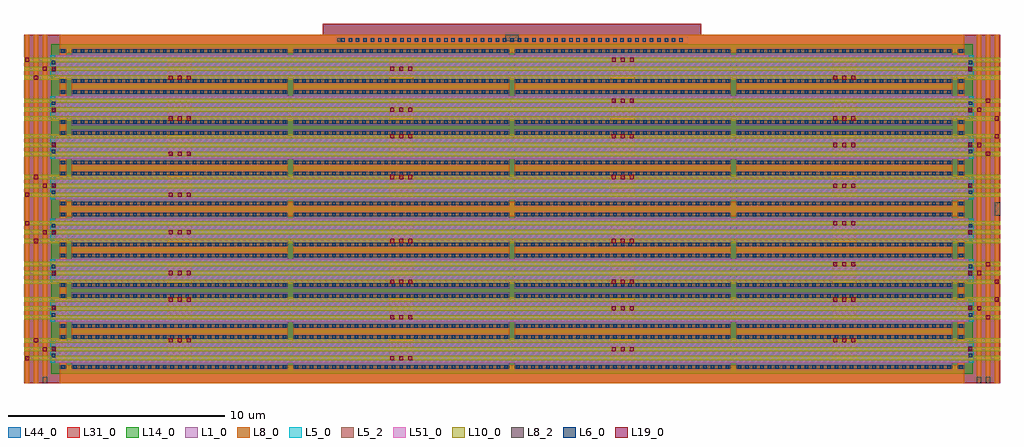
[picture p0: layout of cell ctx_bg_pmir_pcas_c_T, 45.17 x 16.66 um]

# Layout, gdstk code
from math import pi, radians
import gdstk
lib = gdstk.Library(unit=1e-6, precision=1e-09)
def R(c, l, rs):  # rectangles x0, y0, x1, y1
    for r in rs: c.add(gdstk.rectangle(r[:2], r[2:], *l))
def A(c, l, x, y, w, h, nx, ny, dx, dy):  # array of equal rectangles
    R(c, l, [(x+i*dx, y+j*dy, x+i*dx+w, y+j*dy+h) for i in range(nx) for j in range(ny)])
L1_0 = (1, 0)
L5_0 = (5, 0)
L5_2 = (5, 2)
L6_0 = (6, 0)
L8_0 = (8, 0)
L8_2 = (8, 2)
L10_0 = (10, 0)
L14_0 = (14, 0)
L19_0 = (19, 0)
L31_0 = (31, 0)
L44_0 = (44, 0)
L51_0 = (51, 0)

pmoshv_w0p3_l1 = lib.new_cell('pmosHV_w0p3_l1')
R(pmoshv_w0p3_l1, L1_0, [(0,0,0.3,0.3), (0,0,1.68,0.3), (1.38,0,1.68,0.3)])
R(pmoshv_w0p3_l1, L5_0, [(0.34,-0.18,1.34,0.48)])
R(pmoshv_w0p3_l1, L5_2, [(0.34,-0.18,1.34,0.48)])
R(pmoshv_w0p3_l1, L6_0, [(0.07,0.07,0.23,0.23), (1.45,0.07,1.61,0.23)])
R(pmoshv_w0p3_l1, L8_0, [(0.07,0,0.23,0.3), (1.45,0,1.61,0.3)])
R(pmoshv_w0p3_l1, L8_2, [(0.07,0,0.23,0.3), (1.45,0,1.61,0.3)])
R(pmoshv_w0p3_l1, L14_0, [(-0.18,-0.4,1.86,0.7)])
R(pmoshv_w0p3_l1, L31_0, [(-0.62,-0.62,2.3,0.92)])
R(pmoshv_w0p3_l1, L44_0, [(-0.62,-0.62,2.3,0.92)])
R(pmoshv_w0p3_l1, L51_0, [(0.34,-0.18,1.34,0.48)])
pmoshv_w0p3_l1.add(gdstk.Label('pmosHV', (0.84,0.15), layer=63, texttype=0))
pmoshv_w0p3_l1.add(gdstk.Label('pmos', (0.84,0.15), layer=51, texttype=0))

pmoshv_14 = lib.new_cell('pmosHV$14')
R(pmoshv_14, L1_0, [(0,0,0.3,0.3), (0,0,1.68,10), (1.38,0,1.68,0.3)])
R(pmoshv_14, L5_0, [(0.34,-0.18,1.34,10.18)])
R(pmoshv_14, L5_2, [(0.34,-0.18,1.34,10.18)])
A(pmoshv_14, L6_0, 0.07, 0.07, 0.16, 0.16, 1, 4, 0, 0.345)
A(pmoshv_14, L6_0, 1.45, 0.07, 0.16, 0.16, 1, 4, 0, 0.345)
A(pmoshv_14, L6_0, 0.07, 1.455, 0.16, 0.16, 1, 3, 0, 0.345)
A(pmoshv_14, L6_0, 1.45, 1.455, 0.16, 0.16, 1, 3, 0, 0.345)
A(pmoshv_14, L6_0, 0.07, 2.495, 0.16, 0.16, 1, 4, 0, 0.345)
A(pmoshv_14, L6_0, 1.45, 2.495, 0.16, 0.16, 1, 4, 0, 0.345)
A(pmoshv_14, L6_0, 0.07, 3.88, 0.16, 0.16, 1, 3, 0, 0.345)
A(pmoshv_14, L6_0, 1.45, 3.88, 0.16, 0.16, 1, 3, 0, 0.345)
A(pmoshv_14, L6_0, 0.07, 4.92, 0.16, 0.16, 1, 4, 0, 0.345)
A(pmoshv_14, L6_0, 1.45, 4.92, 0.16, 0.16, 1, 4, 0, 0.345)
A(pmoshv_14, L6_0, 0.07, 6.305, 0.16, 0.16, 1, 3, 0, 0.345)
A(pmoshv_14, L6_0, 1.45, 6.305, 0.16, 0.16, 1, 3, 0, 0.345)
A(pmoshv_14, L6_0, 0.07, 7.345, 0.16, 0.16, 1, 4, 0, 0.345)
A(pmoshv_14, L6_0, 1.45, 7.345, 0.16, 0.16, 1, 4, 0, 0.345)
A(pmoshv_14, L6_0, 0.07, 8.73, 0.16, 0.16, 1, 3, 0, 0.345)
A(pmoshv_14, L6_0, 1.45, 8.73, 0.16, 0.16, 1, 3, 0, 0.345)
R(pmoshv_14, L6_0, [(0.07,9.77,0.23,9.93), (1.45,9.77,1.61,9.93)])
R(pmoshv_14, L8_0, [(0.07,0,0.23,10), (1.45,0,1.61,10)])
R(pmoshv_14, L8_2, [(0.07,0,0.23,10), (1.45,0,1.61,10)])
R(pmoshv_14, L14_0, [(-0.18,-0.4,1.86,10.4)])
R(pmoshv_14, L31_0, [(-0.62,-0.62,2.3,10.62)])
R(pmoshv_14, L44_0, [(-0.62,-0.62,2.3,10.62)])
R(pmoshv_14, L51_0, [(0.34,-0.18,1.34,10.18)])
pmoshv_14.add(gdstk.Label('pmosHV', (0.84,5), layer=63, texttype=0))
pmoshv_14.add(gdstk.Label('pmos', (0.84,5), layer=51, texttype=0))

bg_pmir_pcas_c = lib.new_cell('bg_pmir_pcas_c')
A(bg_pmir_pcas_c, L5_0, -0.435, 0.34, 0.435, 1, 1, 8, 0, 1.89)
A(bg_pmir_pcas_c, L5_0, 41.85, 0.34, 0.435, 1, 1, 8, 0, 1.89)
R(bg_pmir_pcas_c, L6_0, [(-0.365,0.59,-0.205,0.75), (42.055,0.59,42.215,0.75), (-0.365,0.93,-0.205,1.09), (42.055,0.93,42.215,1.09), (-0.365,2.48,-0.205,2.64), (42.055,2.48,42.215,2.64), (-0.365,2.82,-0.205,2.98), (42.055,2.82,42.215,2.98), (-0.365,4.37,-0.205,4.53), (42.055,4.37,42.215,4.53), (-0.365,4.71,-0.205,4.87), (42.055,4.71,42.215,4.87), (-0.365,6.26,-0.205,6.42), (42.055,6.26,42.215,6.42), (-0.365,6.6,-0.205,6.76), (42.055,6.6,42.215,6.76), (-0.365,8.15,-0.205,8.31), (42.055,8.15,42.215,8.31), (-0.365,8.49,-0.205,8.65), (42.055,8.49,42.215,8.65), (-0.365,10.04,-0.205,10.2), (42.055,10.04,42.215,10.2), (-0.365,10.38,-0.205,10.54), (42.055,10.38,42.215,10.54), (-0.365,11.93,-0.205,12.09), (42.055,11.93,42.215,12.09), (-0.365,12.27,-0.205,12.43), (42.055,12.27,42.215,12.43), (-0.365,13.82,-0.205,13.98), (42.055,13.82,42.215,13.98), (-0.365,14.16,-0.205,14.32), (42.055,14.16,42.215,14.32)])
A(bg_pmir_pcas_c, L8_0, -1.62, -0.62, 0.21, 16.15, 3, 1, 0.41, 0)
A(bg_pmir_pcas_c, L8_0, 42.44, -0.62, 0.21, 16.15, 3, 1, 0.41, 0)
A(bg_pmir_pcas_c, L8_0, 0, 0.07, 0.3, 1.54, 1, 8, 0, 1.89)
A(bg_pmir_pcas_c, L8_0, 41.55, 0.07, 0.3, 1.54, 1, 8, 0, 1.89)
A(bg_pmir_pcas_c, L8_0, -0.39, 0.41, 0.21, 0.86, 1, 8, 0, 1.89)
A(bg_pmir_pcas_c, L8_0, 42.03, 0.41, 0.21, 0.86, 1, 8, 0, 1.89)
A(bg_pmir_pcas_c, L8_0, 4.995, 0.45, 1.11, 1.16, 4, 2, 10.25, 1.89)
A(bg_pmir_pcas_c, L8_0, 0, 1.45, 0.3, 0.67, 1, 4, 0, 3.78)
A(bg_pmir_pcas_c, L8_0, 0.55, 1.45, 10, 0.67, 4, 4, 10.25, 3.78)
A(bg_pmir_pcas_c, L8_0, 41.55, 1.45, 0.3, 0.67, 1, 4, 0, 3.78)
A(bg_pmir_pcas_c, L8_0, 0, 3.5, 0.3, 0.35, 1, 3, 0, 3.78)
A(bg_pmir_pcas_c, L8_0, 41.55, 3.5, 0.3, 0.35, 1, 3, 0, 3.78)
A(bg_pmir_pcas_c, L8_0, 4.995, 3.85, 1.11, 1.16, 4, 2, 10.25, 1.89)
A(bg_pmir_pcas_c, L8_0, 4.995, 8.01, 1.11, 1.16, 4, 2, 10.25, 1.89)
A(bg_pmir_pcas_c, L8_0, 4.995, 11.41, 1.11, 1.16, 4, 2, 10.25, 1.89)
R(bg_pmir_pcas_c, L8_0, [(0,-0.62,41.85,0.23), (0,7.12,41.85,7.79), (43.26,7.135,43.51,7.775), (0,14.68,41.85,15.53)])
R(bg_pmir_pcas_c, L8_2, [(-0.8,-0.62,-0.59,-0.3), (42.44,-0.62,42.65,-0.3), (42.85,-0.62,43.06,-0.3), (43.26,7.135,43.51,7.775), (20.605,15.21,21.245,15.53)])
A(bg_pmir_pcas_c, L10_0, -1.66, 0.455, 45.17, 0.2, 1, 3, 0, 0.41)
A(bg_pmir_pcas_c, L10_0, -1.66, 2.345, 45.17, 0.2, 1, 3, 0, 0.41)
A(bg_pmir_pcas_c, L10_0, -1.66, 3.985, 45.17, 0.2, 1, 3, 0, 0.41)
A(bg_pmir_pcas_c, L10_0, -1.66, 5.875, 45.17, 0.2, 1, 3, 0, 0.41)
A(bg_pmir_pcas_c, L10_0, -1.66, 8.015, 45.17, 0.2, 1, 3, 0, 0.41)
A(bg_pmir_pcas_c, L10_0, -1.66, 9.905, 45.17, 0.2, 1, 3, 0, 0.41)
A(bg_pmir_pcas_c, L10_0, -1.66, 11.545, 45.17, 0.2, 1, 3, 0, 0.41)
A(bg_pmir_pcas_c, L10_0, -1.66, 13.435, 45.17, 0.2, 1, 3, 0, 0.41)
A(bg_pmir_pcas_c, L19_0, 15.295, 0.46, 0.19, 0.19, 3, 2, 0.41, 1.89)
A(bg_pmir_pcas_c, L19_0, 25.545, 0.87, 0.19, 0.19, 3, 2, 0.41, 1.89)
A(bg_pmir_pcas_c, L19_0, 5.045, 1.28, 0.19, 0.19, 3, 2, 0.41, 1.89)
A(bg_pmir_pcas_c, L19_0, 35.795, 1.28, 0.19, 0.19, 3, 2, 0.41, 1.89)
A(bg_pmir_pcas_c, L19_0, 15.295, 3.99, 0.19, 0.19, 3, 2, 0.41, 1.89)
A(bg_pmir_pcas_c, L19_0, 25.545, 3.99, 0.19, 0.19, 3, 2, 0.41, 1.89)
A(bg_pmir_pcas_c, L19_0, 5.045, 4.4, 0.19, 0.19, 3, 2, 0.41, 1.89)
A(bg_pmir_pcas_c, L19_0, 35.795, 4.81, 0.19, 0.19, 3, 2, 0.41, 1.89)
A(bg_pmir_pcas_c, L19_0, 5.045, 8.02, 0.19, 0.19, 3, 2, 0.41, 1.89)
A(bg_pmir_pcas_c, L19_0, 35.795, 8.43, 0.19, 0.19, 3, 2, 0.41, 1.89)
A(bg_pmir_pcas_c, L19_0, 15.295, 8.84, 0.19, 0.19, 3, 2, 0.41, 1.89)
A(bg_pmir_pcas_c, L19_0, 25.545, 8.84, 0.19, 0.19, 3, 2, 0.41, 1.89)
A(bg_pmir_pcas_c, L19_0, 5.045, 11.55, 0.19, 0.19, 3, 2, 0.41, 1.89)
A(bg_pmir_pcas_c, L19_0, 35.795, 11.55, 0.19, 0.19, 3, 2, 0.41, 1.89)
A(bg_pmir_pcas_c, L19_0, 15.295, 11.96, 0.19, 0.19, 3, 2, 0.41, 1.89)
A(bg_pmir_pcas_c, L19_0, 25.545, 12.37, 0.19, 0.19, 3, 2, 0.41, 1.89)
R(bg_pmir_pcas_c, L19_0, [(-1.61,0.46,-1.42,0.65), (-0.79,0.87,-0.6,1.06), (-0.38,0.87,-0.19,1.06), (42.04,0.87,42.23,1.06), (-1.2,1.28,-1.01,1.47), (42.86,2.35,43.05,2.54), (-0.38,2.76,-0.19,2.95), (42.04,2.76,42.23,2.95), (42.45,2.76,42.64,2.95), (43.27,3.17,43.46,3.36), (43.27,3.99,43.46,4.18), (-0.38,4.4,-0.19,4.59), (42.04,4.4,42.23,4.59), (42.45,4.4,42.64,4.59), (42.86,4.81,43.05,5), (-1.2,5.88,-1.01,6.07), (-0.79,6.29,-0.6,6.48), (-0.38,6.29,-0.19,6.48), (42.04,6.29,42.23,6.48), (-1.61,6.7,-1.42,6.89), (-1.61,8.02,-1.42,8.21), (-0.79,8.43,-0.6,8.62), (-0.38,8.43,-0.19,8.62), (42.04,8.43,42.23,8.62), (-1.2,8.84,-1.01,9.03), (42.86,9.91,43.05,10.1), (-0.38,10.32,-0.19,10.51), (42.04,10.32,42.23,10.51), (42.45,10.32,42.64,10.51), (43.27,10.73,43.46,10.92), (43.27,11.55,43.46,11.74), (-0.38,11.96,-0.19,12.15), (42.04,11.96,42.23,12.15), (42.45,11.96,42.64,12.15), (42.86,12.37,43.05,12.56), (-1.2,13.44,-1.01,13.63), (-0.79,13.85,-0.6,14.04), (-0.38,13.85,-0.19,14.04), (42.04,13.85,42.23,14.04), (-1.61,14.26,-1.42,14.45)])
R(bg_pmir_pcas_c, L31_0, [(-1.66,-0.62,43.51,15.53)])
R(bg_pmir_pcas_c, L44_0, [(-1.66,-0.62,43.51,15.53)])
bg_pmir_pcas_c.add(gdstk.Reference(pmoshv_w0p3_l1, (0,14.91), rotation=3*pi/2))
r = gdstk.Reference(pmoshv_14, (0.55,14.91), rotation=3*pi/2); r.repetition = gdstk.Repetition(1, 4, v1=(0,0), v2=(10.25,0)); bg_pmir_pcas_c.add(r)
bg_pmir_pcas_c.add(gdstk.Reference(pmoshv_w0p3_l1, (41.55,14.91), rotation=3*pi/2))
bg_pmir_pcas_c.add(gdstk.Reference(pmoshv_w0p3_l1, (0,13.02), rotation=3*pi/2))
r = gdstk.Reference(pmoshv_14, (0.55,13.02), rotation=3*pi/2); r.repetition = gdstk.Repetition(1, 4, v1=(0,0), v2=(10.25,0)); bg_pmir_pcas_c.add(r)
bg_pmir_pcas_c.add(gdstk.Reference(pmoshv_w0p3_l1, (41.55,13.02), rotation=3*pi/2))
bg_pmir_pcas_c.add(gdstk.Reference(pmoshv_w0p3_l1, (0,11.13), rotation=3*pi/2))
r = gdstk.Reference(pmoshv_14, (0.55,11.13), rotation=3*pi/2); r.repetition = gdstk.Repetition(1, 4, v1=(0,0), v2=(10.25,0)); bg_pmir_pcas_c.add(r)
bg_pmir_pcas_c.add(gdstk.Reference(pmoshv_w0p3_l1, (41.55,11.13), rotation=3*pi/2))
bg_pmir_pcas_c.add(gdstk.Reference(pmoshv_w0p3_l1, (0,9.24), rotation=3*pi/2))
r = gdstk.Reference(pmoshv_14, (0.55,9.24), rotation=3*pi/2); r.repetition = gdstk.Repetition(1, 4, v1=(0,0), v2=(10.25,0)); bg_pmir_pcas_c.add(r)
bg_pmir_pcas_c.add(gdstk.Reference(pmoshv_w0p3_l1, (41.55,9.24), rotation=3*pi/2))
bg_pmir_pcas_c.add(gdstk.Reference(pmoshv_w0p3_l1, (0,7.35), rotation=3*pi/2))
r = gdstk.Reference(pmoshv_14, (0.55,7.35), rotation=3*pi/2); r.repetition = gdstk.Repetition(1, 4, v1=(0,0), v2=(10.25,0)); bg_pmir_pcas_c.add(r)
bg_pmir_pcas_c.add(gdstk.Reference(pmoshv_w0p3_l1, (41.55,7.35), rotation=3*pi/2))
bg_pmir_pcas_c.add(gdstk.Reference(pmoshv_w0p3_l1, (0,5.46), rotation=3*pi/2))
r = gdstk.Reference(pmoshv_14, (0.55,5.46), rotation=3*pi/2); r.repetition = gdstk.Repetition(1, 4, v1=(0,0), v2=(10.25,0)); bg_pmir_pcas_c.add(r)
bg_pmir_pcas_c.add(gdstk.Reference(pmoshv_w0p3_l1, (41.55,5.46), rotation=3*pi/2))
bg_pmir_pcas_c.add(gdstk.Reference(pmoshv_w0p3_l1, (0,3.57), rotation=3*pi/2))
r = gdstk.Reference(pmoshv_14, (0.55,3.57), rotation=3*pi/2); r.repetition = gdstk.Repetition(1, 4, v1=(0,0), v2=(10.25,0)); bg_pmir_pcas_c.add(r)
bg_pmir_pcas_c.add(gdstk.Reference(pmoshv_w0p3_l1, (41.55,3.57), rotation=3*pi/2))
bg_pmir_pcas_c.add(gdstk.Reference(pmoshv_w0p3_l1, (0,1.68), rotation=3*pi/2))
r = gdstk.Reference(pmoshv_14, (0.55,1.68), rotation=3*pi/2); r.repetition = gdstk.Repetition(1, 4, v1=(0,0), v2=(10.25,0)); bg_pmir_pcas_c.add(r)
bg_pmir_pcas_c.add(gdstk.Reference(pmoshv_w0p3_l1, (41.55,1.68), rotation=3*pi/2))
bg_pmir_pcas_c.add(gdstk.Label('dummyn', (0.15,14.07), layer=63, texttype=0))
bg_pmir_pcas_c.add(gdstk.Label('PO', (5.55,14.07), layer=63, texttype=0))
bg_pmir_pcas_c.add(gdstk.Label('PB', (15.8,14.07), layer=63, texttype=0))
bg_pmir_pcas_c.add(gdstk.Label('PA', (26.05,14.07), layer=63, texttype=0))
bg_pmir_pcas_c.add(gdstk.Label('PO', (36.3,14.07), layer=63, texttype=0))
bg_pmir_pcas_c.add(gdstk.Label('dummyn', (41.7,14.07), layer=63, texttype=0))
bg_pmir_pcas_c.add(gdstk.Label('dummyn', (0.15,12.18), layer=63, texttype=0))
bg_pmir_pcas_c.add(gdstk.Label('POC', (5.55,12.18), layer=63, texttype=0))
bg_pmir_pcas_c.add(gdstk.Label('PBC', (15.8,12.18), layer=63, texttype=0))
bg_pmir_pcas_c.add(gdstk.Label('PAC', (26.05,12.18), layer=63, texttype=0))
bg_pmir_pcas_c.add(gdstk.Label('POC', (36.3,12.18), layer=63, texttype=0))
bg_pmir_pcas_c.add(gdstk.Label('dummyn', (41.7,12.18), layer=63, texttype=0))
bg_pmir_pcas_c.add(gdstk.Label('dummyn', (0.15,10.29), layer=63, texttype=0))
bg_pmir_pcas_c.add(gdstk.Label('PAC', (5.55,10.29), layer=63, texttype=0))
bg_pmir_pcas_c.add(gdstk.Label('POC', (15.8,10.29), layer=63, texttype=0))
bg_pmir_pcas_c.add(gdstk.Label('POC', (26.05,10.29), layer=63, texttype=0))
bg_pmir_pcas_c.add(gdstk.Label('PBC', (36.3,10.29), layer=63, texttype=0))
bg_pmir_pcas_c.add(gdstk.Label('dummyn', (41.7,10.29), layer=63, texttype=0))
bg_pmir_pcas_c.add(gdstk.Label('dummyn', (0.15,8.4), layer=63, texttype=0))
bg_pmir_pcas_c.add(gdstk.Label('PA', (5.55,8.4), layer=63, texttype=0))
bg_pmir_pcas_c.add(gdstk.Label('PO', (15.8,8.4), layer=63, texttype=0))
bg_pmir_pcas_c.add(gdstk.Label('PO', (26.05,8.4), layer=63, texttype=0))
bg_pmir_pcas_c.add(gdstk.Label('PB', (36.3,8.4), layer=63, texttype=0))
bg_pmir_pcas_c.add(gdstk.Label('dummyn', (41.7,8.4), layer=63, texttype=0))
bg_pmir_pcas_c.add(gdstk.Label('dummyn', (0.15,6.51), layer=63, texttype=0))
bg_pmir_pcas_c.add(gdstk.Label('PB', (5.55,6.51), layer=63, texttype=0))
bg_pmir_pcas_c.add(gdstk.Label('PO', (15.8,6.51), layer=63, texttype=0))
bg_pmir_pcas_c.add(gdstk.Label('PO', (26.05,6.51), layer=63, texttype=0))
bg_pmir_pcas_c.add(gdstk.Label('PA', (36.3,6.51), layer=63, texttype=0))
bg_pmir_pcas_c.add(gdstk.Label('dummyn', (41.7,6.51), layer=63, texttype=0))
bg_pmir_pcas_c.add(gdstk.Label('dummyn', (0.15,4.62), layer=63, texttype=0))
bg_pmir_pcas_c.add(gdstk.Label('PBC', (5.55,4.62), layer=63, texttype=0))
bg_pmir_pcas_c.add(gdstk.Label('POC', (15.8,4.62), layer=63, texttype=0))
bg_pmir_pcas_c.add(gdstk.Label('POC', (26.05,4.62), layer=63, texttype=0))
bg_pmir_pcas_c.add(gdstk.Label('PAC', (36.3,4.62), layer=63, texttype=0))
bg_pmir_pcas_c.add(gdstk.Label('dummyn', (41.7,4.62), layer=63, texttype=0))
bg_pmir_pcas_c.add(gdstk.Label('dummyn', (0.15,2.73), layer=63, texttype=0))
bg_pmir_pcas_c.add(gdstk.Label('POC', (5.55,2.73), layer=63, texttype=0))
bg_pmir_pcas_c.add(gdstk.Label('PAC', (15.8,2.73), layer=63, texttype=0))
bg_pmir_pcas_c.add(gdstk.Label('PBC', (26.05,2.73), layer=63, texttype=0))
bg_pmir_pcas_c.add(gdstk.Label('POC', (36.3,2.73), layer=63, texttype=0))
bg_pmir_pcas_c.add(gdstk.Label('dummyn', (41.7,2.73), layer=63, texttype=0))
bg_pmir_pcas_c.add(gdstk.Label('dummyn', (0.15,0.84), layer=63, texttype=0))
bg_pmir_pcas_c.add(gdstk.Label('PO', (5.55,0.84), layer=63, texttype=0))
bg_pmir_pcas_c.add(gdstk.Label('PA', (15.8,0.84), layer=63, texttype=0))
bg_pmir_pcas_c.add(gdstk.Label('PB', (26.05,0.84), layer=63, texttype=0))
bg_pmir_pcas_c.add(gdstk.Label('PO', (36.3,0.84), layer=63, texttype=0))
bg_pmir_pcas_c.add(gdstk.Label('dummyn', (41.7,0.84), layer=63, texttype=0))
bg_pmir_pcas_c.add(gdstk.Label('vpg', (-0.695,-0.46), layer=8, texttype=25))
bg_pmir_pcas_c.add(gdstk.Label('vpc', (42.545,-0.46), layer=8, texttype=25))
bg_pmir_pcas_c.add(gdstk.Label('g', (42.955,-0.46), layer=8, texttype=25))
bg_pmir_pcas_c.add(gdstk.Label('iout', (43.385,7.455), layer=8, texttype=25))
bg_pmir_pcas_c.add(gdstk.Label('vdd', (20.925,15.37), layer=8, texttype=25))

ctx_bg_pmir_pcas_c_t_tap = lib.new_cell('ctx_bg_pmir_pcas_c_T_tap0')
R(ctx_bg_pmir_pcas_c_t_tap, L1_0, [(12.775,15.12,29.075,15.42)])
A(ctx_bg_pmir_pcas_c_t_tap, L6_0, 13.025, 15.19, 0.16, 0.16, 47, 1, 0.34, 0)
R(ctx_bg_pmir_pcas_c_t_tap, L8_0, [(12.845,15.19,29.005,15.35)])
R(ctx_bg_pmir_pcas_c_t_tap, L8_2, [(12.845,15.19,13.005,15.35)])
R(ctx_bg_pmir_pcas_c_t_tap, L31_0, [(12.155,14.5,29.695,16.04)])
R(ctx_bg_pmir_pcas_c_t_tap, L44_0, [(12.155,14.5,29.695,16.04)])
ctx_bg_pmir_pcas_c_t_tap.add(gdstk.Label('vdd', (12.925,15.27), layer=8, texttype=25))

ctx_bg_pmir_pcas_c_t = lib.new_cell('ctx_bg_pmir_pcas_c_T')
ctx_bg_pmir_pcas_c_t.add(gdstk.Reference(bg_pmir_pcas_c, (0,0)))
ctx_bg_pmir_pcas_c_t.add(gdstk.Reference(ctx_bg_pmir_pcas_c_t_tap, (0,0)))

lib.write_gds('ctx_bg_pmir_pcas_c_T.gds')
